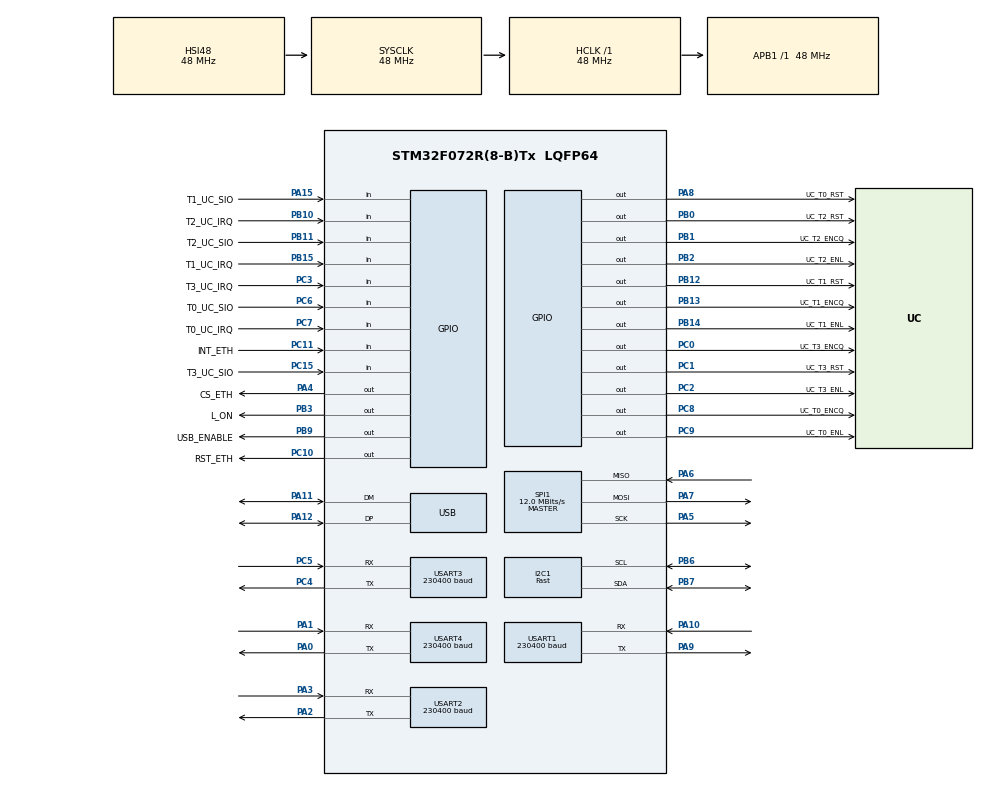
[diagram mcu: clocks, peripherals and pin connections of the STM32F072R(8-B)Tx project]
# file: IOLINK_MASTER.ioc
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Mcu.Family=STM32F0
PA6.Mode=Full_Duplex_Master
USB_DEVICE.CLASS_NAME_FS=CDC
TIM17.Prescaler=47
VP_TIM17_VS_ClockSourceINT.Mode=Enable_Timer
I2C1.I2C_Speed_Mode=I2C_Fast
SPI1.VirtualType=VM_MASTER
NVIC.USB_IRQn=true\:0\:0\:false\:false\:true\:false\:true
USART1.BaudRate=230400
PC10.Signal=GPIO_Output
PB14.GPIO_Label=UC_T1_ENL
USART1.WordLength=WORDLENGTH_9B
USART2.Parity=PARITY_EVEN
PC0.GPIO_Label=UC_T3_ENCQ
PC6.GPIO_Label=T0_UC_SIO
PA11.Mode=Device
PB0.GPIO_Label=UC_T2_RST
PC5.Mode=Asynchronous
PB13.GPIO_Label=UC_T1_ENCQ
PB11.Signal=GPIO_Input
PB13.Signal=GPIO_Output
PB15.Signal=GPIO_Input
PC15-OSC32_OUT.GPIO_Label=T3_UC_SIO
USART4.Parity=PARITY_EVEN
RCC.SYSCLKSource=RCC_SYSCLKSOURCE_HSI48
ProjectManager.StackSize=0x400
NVIC.I2C1_IRQn=true\:0\:0\:false\:false\:true\:true\:true
USART3.VirtualMode-Asynchronous=VM_ASYNC
VP_TIM7_VS_ClockSourceINT.Mode=Enable_Timer
PA15.GPIO_Label=T1_UC_SIO
PA12.Signal=USB_DP
USART3.BaudRate=230400
PB0.PinState=GPIO_PIN_SET
NVIC.USART3_4_IRQn=true\:0\:0\:false\:false\:true\:true\:true
SPI1.Direction=SPI_DIRECTION_2LINES
RCC.HCLKFreq_Value=48000000
PB6.Signal=I2C1_SCL
PC7.Signal=GPIO_Input
PB12.PinState=GPIO_PIN_SET
PB6.Mode=I2C
VP_RCC_USB.Mode=CRS SYNC Source USB
SPI1.CalculateBaudRate=12.0 MBits/s
PC3.Signal=GPIO_Input
TIM7.Period=999
PC1.PinState=GPIO_PIN_SET
RCC.AHBFreq_Value=48000000
RCC.HSE_VALUE=16000000
PB2.Signal=GPIO_Output
PB12.GPIO_ModeDefaultOutputPP=GPIO_MODE_OUTPUT_OD
USART2.VirtualMode-Asynchronous=VM_ASYNC
PB12.GPIO_Label=UC_T1_RST
USB_DEVICE.USBD_SELF_POWERED=1
PB1.GPIO_Speed=GPIO_SPEED_FREQ_HIGH
PA14.Mode=Serial_Wire
PB1.GPIO_Label=UC_T2_ENCQ
PC11.GPIO_Label=INT_ETH
PA0.Mode=Asynchronous
PB7.Signal=I2C1_SDA
PA8.Signal=GPIO_Output
PA8.GPIO_ModeDefaultOutputPP=GPIO_MODE_OUTPUT_OD
PA0.Signal=USART4_TX
Mcu.Package=LQFP64
PB9.Signal=GPIO_Output
PB1.Signal=GPIO_Output
PA6.Signal=SPI1_MISO
PA10.Signal=USART1_RX
PA15.Signal=GPIO_Input
TIM7.AutoReloadPreload=TIM_AUTORELOAD_PRELOAD_ENABLE
PC8.GPIO_Speed=GPIO_SPEED_FREQ_HIGH
USART2.WordLength=WORDLENGTH_9B
RCC.APB1TimFreq_Value=48000000
PB0.GPIO_ModeDefaultOutputPP=GPIO_MODE_OUTPUT_OD
PC5.Signal=USART3_RX
USART4.WordLength=WORDLENGTH_9B
NVIC.USART1_IRQn=true\:0\:0\:false\:false\:true\:true\:true
PF1-OSC_OUT.Mode=HSE-External-Oscillator
SPI1.BaudRatePrescaler=SPI_BAUDRATEPRESCALER_4
PA4.GPIO_Label=CS_ETH
PC2.GPIO_Label=UC_T3_ENL
NVIC.TIM7_IRQn=true\:0\:0\:false\:false\:true\:true\:true
PF1-OSC_OUT.Signal=RCC_OSC_OUT
PC4.Mode=Asynchronous
PA8.PinState=GPIO_PIN_SET
PA3.Signal=USART2_RX
PA5.Mode=Full_Duplex_Master
PB3.GPIO_Label=L_ON
RCC.PLLSourceVirtual=RCC_PLLSOURCE_HSE
I2C1.Speed=400
PA7.Mode=Full_Duplex_Master
PB9.GPIO_Label=USB_ENABLE
PA10.Mode=Asynchronous
PC10.GPIO_Label=RST_ETH
PC9.GPIO_Label=UC_T0_ENL
USB_DEVICE.VirtualModeFS=Cdc_FS
PC11.Signal=GPIO_Input
PC8.Signal=GPIO_Output
PC2.Signal=GPIO_Output
PC4.Signal=USART3_TX
PC6.Signal=GPIO_Input
PB11.GPIO_Label=T2_UC_SIO
PC0.Signal=GPIO_Output
NVIC.USART2_IRQn=true\:0\:0\:false\:false\:true\:true\:true
USART2.BaudRate=230400
PC8.GPIO_Label=UC_T0_ENCQ
USART1.VirtualMode-Asynchronous=VM_ASYNC
PA3.Mode=Asynchronous
PA13.Signal=SYS_SWDIO
PA9.Mode=Asynchronous
PC0.GPIO_Speed=GPIO_SPEED_FREQ_HIGH
PA8.GPIO_Label=UC_T0_RST
ProjectManager.TargetToolchain=STM32CubeIDE
PB10.GPIO_Label=T2_UC_IRQ
VP_USB_DEVICE_VS_USB_DEVICE_CDC_FS.Mode=CDC_FS
PA9.Signal=USART1_TX
USART1.Parity=PARITY_EVEN
I2C1.Timing=0x0000020B
PB13.GPIO_Speed=GPIO_SPEED_FREQ_HIGH
PC7.GPIO_PuPd=GPIO_NOPULL
PC15-OSC32_OUT.Signal=GPIO_Input
PA1.Signal=USART4_RX
PF0-OSC_IN.Mode=HSE-External-Oscillator
PB10.Signal=GPIO_Input
PB14.Signal=GPIO_Output
PA5.Signal=SPI1_SCK
USART4.VirtualMode-Asynchronous=VM_ASYNC
TIM7.Prescaler=47
board=custom
USART4.BaudRate=230400
USART3.WordLength=WORDLENGTH_9B
PA1.Mode=Asynchronous
PB15.GPIO_Label=T1_UC_IRQ
SPI1.Mode=SPI_MODE_MASTER
PC1.GPIO_Label=UC_T3_RST
PA13.Mode=Serial_Wire
Mcu.Name=STM32F072R(8-B)Tx
PA2.Signal=USART2_TX
PC7.GPIO_Label=T0_UC_IRQ
PB3.Signal=GPIO_Output
PA4.Signal=GPIO_Output
RCC.SYSCLKFreq_VALUE=48000000
PA12.Mode=Device
PA11.Signal=USB_DM
PB7.Mode=I2C
PA14.Signal=SYS_SWCLK
PB2.GPIO_Label=UC_T2_ENL
ProjectManager.HeapSize=0x200
PC1.GPIO_ModeDefaultOutputPP=GPIO_MODE_OUTPUT_OD
PA2.Mode=Asynchronous
PC3.GPIO_Label=T3_UC_IRQ
PC9.Signal=GPIO_Output
PF0-OSC_IN.Signal=RCC_OSC_IN
RCC.APB1Freq_Value=48000000
PB0.Signal=GPIO_Output
USB_DEVICE.VirtualMode=Cdc
PC1.Signal=GPIO_Output
PB12.Signal=GPIO_Output
PA7.Signal=SPI1_MOSI
USART3.Parity=PARITY_EVEN

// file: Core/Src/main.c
/* USER CODE BEGIN Header */
/**
  ******************************************************************************
  * @file           : main.c
  * @brief          : Main program body
  ******************************************************************************
  * @attention
  *
  * <h2><center>&copy; Copyright (c) 2021 STMicroelectronics.
  * All rights reserved.</center></h2>
  *
  * This software component is licensed by ST under BSD 3-Clause license,
  * the "License"; You may not use this file except in compliance with the
  * License. You may obtain a copy of the License at:
  *                        opensource.org/licenses/BSD-3-Clause
  *
  ******************************************************************************
  */
/* USER CODE END Header */
#include "main.h"
#include "i2c.h"
#include "spi.h"
#include "tim.h"
#include "usart.h"
#include "usb_device.h"
#include "gpio.h"

/* USER CODE BEGIN Includes */
#include "usbd_cdc_if.h"
#include "io_link.h"
#include "l6360.h"
#include "io_link.h"

#include "wizchip_conf.h"
#include "socket.h"
#include "wiz_ster.h"

/* USER CODE END Includes */

/* USER CODE BEGIN PD */

#define TIMEOUT_RECEIVE 3

/* USER CODE END PD */

/* USER CODE BEGIN PV */

//uint8_t TIMEOUT_RECEIVE = 2;

uint8_t USB_txBuffer[64];
uint8_t USB_txLength = 0;
uint8_t USB_rxBuffer[64];
uint8_t USB_rxLength = 0;
uint8_t USB_rxFlag = 0;

uint8_t periodically_uart[4] = {0};
uint8_t periodically_i2c = 0;
uint8_t periodically_sio = 0;

uint8_t com_baud[4] = {0};

uint16_t cnt = 1;

uint32_t timeout_rec0 = 0;
uint32_t timeout_rec1 = 0;
uint32_t timeout_rec2 = 0;
uint32_t timeout_rec3 = 0;
uint8_t buf_rec0[64];
uint8_t buf_rec0_l = 0;
uint8_t buf_rec1[64] = {0,};
uint8_t buf_rec1_l = 0;
uint8_t buf_rec2[64] = {0,};
uint8_t buf_rec2_l = 0;
uint8_t buf_rec3[64] = {0,};
uint8_t buf_rec3_l = 0;

//extern UART_HandleTypeDef pUartHandle;
extern uint8_t uartRxBuffer[4];
//extern IO_LINK_SPE_HEADER;
/* USER CODE END PV */

void SystemClock_Config(void);
/* USER CODE BEGIN PFP */
void L6360_Reset(uint8_t com);
void IO_LINK_Init(uint8_t dev);
void SIO_Init(uint8_t dev);

void DisplayNetConf(void);

/* USER CODE END PFP */

/* USER CODE BEGIN 0 */

struct IO_LINK_SPE_HEADER HEADER_RS = {
		.HeaderVersion = 0x00,
		.HeaderSize = 0x00,
		.IO_LINK_ProtocolVersion = 0x00,
		.TransferDirection = 0x00,
		.IO_LINK_FrameType = 0x00,
		.IO_LINK_FrameSize0 = 0x00,
		.IO_LINK_FrameSize1 = 0x00,
		.PortNumber = 0x00
		};

wiz_NetInfo gWIZNETINFO = { .mac = {0x00, 0x08, 0xdc, 0xab, 0xcd, 0xef},
                            .ip = {192, 168, 1, 2},
                            .sn = {255, 255, 255, 0},
                            .gw = {192, 168, 1, 1},
                            .dns = {0, 0, 0, 0},
                            .dhcp = NETINFO_STATIC };

/* USER CODE END 0 */

int main(void)
{

  /* MCU Configuration--------------------------------------------------------*/

  /* Reset of all peripherals, Initializes the Flash interface and the Systick. */
  HAL_Init();

  /* Configure the system clock */
  SystemClock_Config();

  /* Initialize all configured peripherals */
  MX_GPIO_Init();
  MX_SPI1_Init();
  MX_USART1_UART_Init();
  MX_USART2_UART_Init();
  MX_USART3_UART_Init();
  MX_USART4_UART_Init();
  MX_I2C1_Init();
  MX_USB_DEVICE_Init();
  MX_TIM17_Init();
  MX_TIM7_Init();
  /* USER CODE BEGIN 2 */

  L6360_Reset(0);

  HAL_TIM_Base_Start(&htim17);
  HAL_TIM_Base_Start_IT(&htim7);

  HAL_Delay(2000); //wait to init usb (temporary)
  HAL_GPIO_WritePin(USB_ENABLE_GPIO_Port, USB_ENABLE_Pin, SET);

  __HAL_UART_FLUSH_DRREGISTER(&huart1);
  __HAL_UART_FLUSH_DRREGISTER(&huart2);
  __HAL_UART_FLUSH_DRREGISTER(&huart3);
  __HAL_UART_FLUSH_DRREGISTER(&huart4);

<<<<<<< HEAD
  memset(USB_txBuffer, '\0', sizeof(USB_txBuffer));
  USB_txLength = sprintf((char*)USB_txBuffer, "\r\nStart Program v1.1\r\n\n");
  CDC_Transmit_FS(USB_txBuffer, USB_txLength);
=======
//  memset(USB_txBuffer, '\0', sizeof(USB_txBuffer));
//  USB_txLength = sprintf((char*)USB_txBuffer, "\r\nStart Program v2.3\r\n\n");
//  CDC_Transmit_FS(USB_txBuffer, USB_txLength);
>>>>>>> test1
  HAL_Delay(1000);

  /* USER CODE END 2 */

  /* Infinite loop */
  /* USER CODE BEGIN WHILE */
  while (1)
  {

	  if(USB_rxFlag == 1)
	  {
		  USB_rxFlag = 0;
		  if( USB_rxLength > 1)
		  {
<<<<<<< HEAD
			  CDC_Transmit_FS(USB_rxBuffer, USB_rxLength);
//			  IoLinkMType0(0, USB_rxBuffer);
=======

			  IoLinkHeader(&HEADER_RS, USB_rxBuffer, USB_rxLength);
//			  HAL_UART_Receive_IT(&huart1, &uartRxBuffer[0], 1);

>>>>>>> test1
		  }
		  else
		  {
			  switch(USB_rxBuffer[0])
			  {
			  	  case '0': //stop all
			  		  L6360_Reset(1); break;
			  	  case '1':
			  		  SIO_Init(0); break;
			  	  case '2':
			  		  IO_LINK_Init(0); break;
			  	  case '3':
			  		  SIO_Init(1); break;
			  	  case '4':
			  		  IO_LINK_Init(1); break;
			  	  case '5':
			  		  SIO_Init(2); break;
			  	  case '6':
			  		  IO_LINK_Init(2); break;
			  	  case '7':
			  		  SIO_Init(3); break;
			  	  case '8':
			  		  IO_LINK_Init(3); break;
			  	  default:
			  		  HAL_NVIC_SystemReset(); break;
			  }
		  }

	  }

//	  HAL_Delay(500);

    /* USER CODE END WHILE */

  }
}

void SystemClock_Config(void)
{
  RCC_OscInitTypeDef RCC_OscInitStruct = {0};
  RCC_ClkInitTypeDef RCC_ClkInitStruct = {0};
  RCC_PeriphCLKInitTypeDef PeriphClkInit = {0};
  RCC_CRSInitTypeDef RCC_CRSInitStruct = {0};

  /** Initializes the RCC Oscillators according to the specified parameters
  * in the RCC_OscInitTypeDef structure.
  */
  RCC_OscInitStruct.OscillatorType = RCC_OSCILLATORTYPE_HSI|RCC_OSCILLATORTYPE_HSI48;
  RCC_OscInitStruct.HSIState = RCC_HSI_ON;
  RCC_OscInitStruct.HSI48State = RCC_HSI48_ON;
  RCC_OscInitStruct.HSICalibrationValue = RCC_HSICALIBRATION_DEFAULT;
  RCC_OscInitStruct.PLL.PLLState = RCC_PLL_NONE;
  if (HAL_RCC_OscConfig(&RCC_OscInitStruct) != HAL_OK)
  {
    Error_Handler();
  }
  /** Initializes the CPU, AHB and APB buses clocks
  */
  RCC_ClkInitStruct.ClockType = RCC_CLOCKTYPE_HCLK|RCC_CLOCKTYPE_SYSCLK
                              |RCC_CLOCKTYPE_PCLK1;
  RCC_ClkInitStruct.SYSCLKSource = RCC_SYSCLKSOURCE_HSI48;
  RCC_ClkInitStruct.AHBCLKDivider = RCC_SYSCLK_DIV1;
  RCC_ClkInitStruct.APB1CLKDivider = RCC_HCLK_DIV1;

  if (HAL_RCC_ClockConfig(&RCC_ClkInitStruct, FLASH_LATENCY_1) != HAL_OK)
  {
    Error_Handler();
  }
  PeriphClkInit.PeriphClockSelection = RCC_PERIPHCLK_USB|RCC_PERIPHCLK_USART1
                              |RCC_PERIPHCLK_USART2|RCC_PERIPHCLK_I2C1;
  PeriphClkInit.Usart1ClockSelection = RCC_USART1CLKSOURCE_PCLK1;
  PeriphClkInit.Usart2ClockSelection = RCC_USART2CLKSOURCE_PCLK1;
  PeriphClkInit.I2c1ClockSelection = RCC_I2C1CLKSOURCE_HSI;
  PeriphClkInit.UsbClockSelection = RCC_USBCLKSOURCE_HSI48;

  if (HAL_RCCEx_PeriphCLKConfig(&PeriphClkInit) != HAL_OK)
  {
    Error_Handler();
  }
  /** Enable the SYSCFG APB clock
  */
  __HAL_RCC_CRS_CLK_ENABLE();
  /** Configures CRS
  */
  RCC_CRSInitStruct.Prescaler = RCC_CRS_SYNC_DIV1;
  RCC_CRSInitStruct.Source = RCC_CRS_SYNC_SOURCE_USB;
  RCC_CRSInitStruct.Polarity = RCC_CRS_SYNC_POLARITY_RISING;
  RCC_CRSInitStruct.ReloadValue = __HAL_RCC_CRS_RELOADVALUE_CALCULATE(48000000,1000);
  RCC_CRSInitStruct.ErrorLimitValue = 34;
  RCC_CRSInitStruct.HSI48CalibrationValue = 32;

  HAL_RCCEx_CRSConfig(&RCC_CRSInitStruct);
}

/* USER CODE BEGIN 4 */

void HAL_UART_RxCpltCallback(UART_HandleTypeDef *huart)
{
		if(huart->Instance == USART1)
		{
			if(buf_rec0_l == 0)
			{
//				  timeout_rec0 = HAL_GetTick() + TIMEOUT_RECEIVE;
				timeout_rec0 = HAL_GetTick();
				buf_rec0[0] = 0x99;
//				buf_rec0[1] = 0x88;
//				buf_rec0[2] = 0x77;
			}

			buf_rec0[buf_rec0_l] = uartRxBuffer[0];
			buf_rec0_l++;

			//			if(HAL_GetTick() >= timeout_rec0)
//			if((HAL_GetTick() - timeout_rec0) > (uint32_t)TIMEOUT_RECEIVE)
//			{

//				memmove(buf_rec0+8, buf_rec0, buf_rec0_l);
//				buf_rec0[0] = (uint8_t)HEADER_RS.HeaderVersion;
//				buf_rec0[1] = (uint8_t)HEADER_RS.HeaderSize;
//				buf_rec0[2] = (uint8_t)HEADER_RS.IO_LINK_ProtocolVersion;
//				buf_rec0[3] = (uint8_t)HEADER_RS.TransferDirection;
//				buf_rec0[4] = (uint8_t)HEADER_RS.IO_LINK_FrameType;
//				buf_rec0[5] = (uint8_t)HEADER_RS.IO_LINK_FrameSize0;
//				buf_rec0[6] = (uint8_t)HEADER_RS.IO_LINK_FrameSize1;
//				buf_rec0[7] = (uint8_t)HEADER_RS.PortNumber;
				CDC_Transmit_FS(&buf_rec0[0], buf_rec0_l);
//				memset(buf_rec0, '\0', buf_rec0_l+8);
				buf_rec0_l = 0;
//				HAL_UART_Abort_IT(&huart1);
				__HAL_UART_FLUSH_DRREGISTER(&huart1);

//			}
//			else
//			{

				HAL_UART_Receive_IT(&huart1, &uartRxBuffer[0], 1);

//			}

		}
		if(huart->Instance == USART2)
		{
//			CDC_Transmit_FS(&uartRxBuffer[1], 1);
			HAL_UART_Receive_IT(&huart2, &uartRxBuffer[1], 1);
		}
		if(huart->Instance == USART3)
		{
//			CDC_Transmit_FS(&uartRxBuffer[2], 1);
			HAL_UART_Receive_IT(&huart3, &uartRxBuffer[2], 1);
		}
		if(huart->Instance == USART4)
		{
//			CDC_Transmit_FS(&uartRxBuffer[3], 1);
			HAL_UART_Receive_IT(&huart4, &uartRxBuffer[3], 1);
		}
}

void HAL_TIM_PeriodElapsedCallback(TIM_HandleTypeDef *htim)
{

	if(htim->Instance == TIM7)
	{
		if(cnt%100 == 0) // co 10 ms
		{
			if(periodically_uart[0] == 1)
			{
				uint8_t data_period_tx[2] = {0xF1, 0x94};
				L6360_PinEnableCQ(0);
				L6360_UartSendData(0, data_period_tx[0]);
				L6360_UartSendData(0, data_period_tx[1]);
				L6360_PinDisableCQ(0);
			}
			if(periodically_uart[1] == 1)
			{
				uint8_t data_period_tx[2] = {0xF1, 0x94};
				L6360_PinEnableCQ(1);
				L6360_UartSendData(1, data_period_tx[0]);
				L6360_UartSendData(1, data_period_tx[1]);
				L6360_PinDisableCQ(1);
			}
			if(periodically_uart[2] == 1)
			{
				uint8_t data_period_tx[2] = {0xF1, 0x94};
				L6360_PinEnableCQ(2);
				L6360_UartSendData(2, data_period_tx[0]);
				L6360_UartSendData(2, data_period_tx[1]);
				L6360_PinDisableCQ(2);
			}
			if(periodically_uart[3] == 1)
			{
				uint8_t data_period_tx[2] = {0xF1, 0x94};
				L6360_PinEnableCQ(3);
				L6360_UartSendData(3, data_period_tx[0]);
				L6360_UartSendData(3, data_period_tx[1]);
				L6360_PinDisableCQ(3);
			}
		}

		if(cnt%100 == 0) // co 100 ms
		{
			if(periodically_i2c == 1)
			{
				uint8_t data_i2c_rx[1];
				HAL_I2C_Master_Receive(&hi2c1, 0xC0, data_i2c_rx, 1, 10);
				HAL_I2C_Master_Receive(&hi2c1, 0xC2, data_i2c_rx, 1, 10);
				HAL_I2C_Master_Receive(&hi2c1, 0xC4, data_i2c_rx, 1, 10);
				HAL_I2C_Master_Receive(&hi2c1, 0xC6, data_i2c_rx, 1, 10);
			}
		}

		if(cnt%200 == 0)
		{
			if(periodically_sio > 0)
			{
				uint8_t send = L6360_SioRead(periodically_sio - 10) + '0';
				CDC_Transmit_FS(&send, 1);
			}
		}

		cnt++;
		if(cnt > 65000)
		{
			cnt = 1;
		}
	}
}

void DisplayNetConf(void)
{
	uint8_t tmpstr[6] = {0,};
	ctlnetwork(CN_GET_NETINFO, (void*) &gWIZNETINFO);
	ctlwizchip(CW_GET_ID,(void*)tmpstr);

	if(gWIZNETINFO.dhcp == NETINFO_DHCP)
	{
//		printf("\r\n===== %s NET CONF : DHCP =====\r\n",(char*)tmpstr);
		memset(USB_txBuffer, '\0', sizeof(USB_txBuffer));
		USB_txLength = sprintf((char*)USB_txBuffer, "\r\n===== %s NET CONF : DHCP =====\r\n",(char*)tmpstr);
		CDC_Transmit_FS(USB_txBuffer, USB_txLength);
	}
	else
	{
//		printf("\r\n===== %s NET CONF : Static =====\r\n",(char*)tmpstr);
		memset(USB_txBuffer, '\0', sizeof(USB_txBuffer));
		USB_txLength = sprintf((char*)USB_txBuffer, "\r\n===== %s NET CONF : Static =====\r\n",(char*)tmpstr);
		CDC_Transmit_FS(USB_txBuffer, USB_txLength);
	}
	memset(USB_txBuffer, '\0', sizeof(USB_txBuffer));
	USB_txLength = sprintf((char*)USB_txBuffer, " MAC : %02X:%02X:%02X:%02X:%02X:%02X\r\n", gWIZNETINFO.mac[0], gWIZNETINFO.mac[1], gWIZNETINFO.mac[2], gWIZNETINFO.mac[3], gWIZNETINFO.mac[4], gWIZNETINFO.mac[5]);
	CDC_Transmit_FS(USB_txBuffer, USB_txLength);
	memset(USB_txBuffer, '\0', sizeof(USB_txBuffer));
	USB_txLength = sprintf((char*)USB_txBuffer, " IP : %d.%d.%d.%d\r\n", gWIZNETINFO.ip[0], gWIZNETINFO.ip[1], gWIZNETINFO.ip[2], gWIZNETINFO.ip[3]);
	CDC_Transmit_FS(USB_txBuffer, USB_txLength);
	memset(USB_txBuffer, '\0', sizeof(USB_txBuffer));
	USB_txLength = sprintf((char*)USB_txBuffer, " GW : %d.%d.%d.%d\r\n", gWIZNETINFO.gw[0], gWIZNETINFO.gw[1], gWIZNETINFO.gw[2], gWIZNETINFO.gw[3]);
	CDC_Transmit_FS(USB_txBuffer, USB_txLength);
	memset(USB_txBuffer, '\0', sizeof(USB_txBuffer));
	USB_txLength = sprintf((char*)USB_txBuffer, " SN : %d.%d.%d.%d\r\n", gWIZNETINFO.sn[0], gWIZNETINFO.sn[1], gWIZNETINFO.sn[2], gWIZNETINFO.sn[3]);
	CDC_Transmit_FS(USB_txBuffer, USB_txLength);
//	printf(" MAC : %02X:%02X:%02X:%02X:%02X:%02X\r\n", gWIZNETINFO.mac[0], gWIZNETINFO.mac[1], gWIZNETINFO.mac[2], gWIZNETINFO.mac[3], gWIZNETINFO.mac[4], gWIZNETINFO.mac[5]);
//	printf(" IP : %d.%d.%d.%d\r\n", gWIZNETINFO.ip[0], gWIZNETINFO.ip[1], gWIZNETINFO.ip[2], gWIZNETINFO.ip[3]);
//	printf(" GW : %d.%d.%d.%d\r\n", gWIZNETINFO.gw[0], gWIZNETINFO.gw[1], gWIZNETINFO.gw[2], gWIZNETINFO.gw[3]);
//	printf(" SN : %d.%d.%d.%d\r\n", gWIZNETINFO.sn[0], gWIZNETINFO.sn[1], gWIZNETINFO.sn[2], gWIZNETINFO.sn[3]);
//	printf("=======================================\r\n");
}

/* USER CODE END 4 */

void Error_Handler(void)
{
}

/************************ (C) COPYRIGHT STMicroelectronics *****END OF FILE****/
